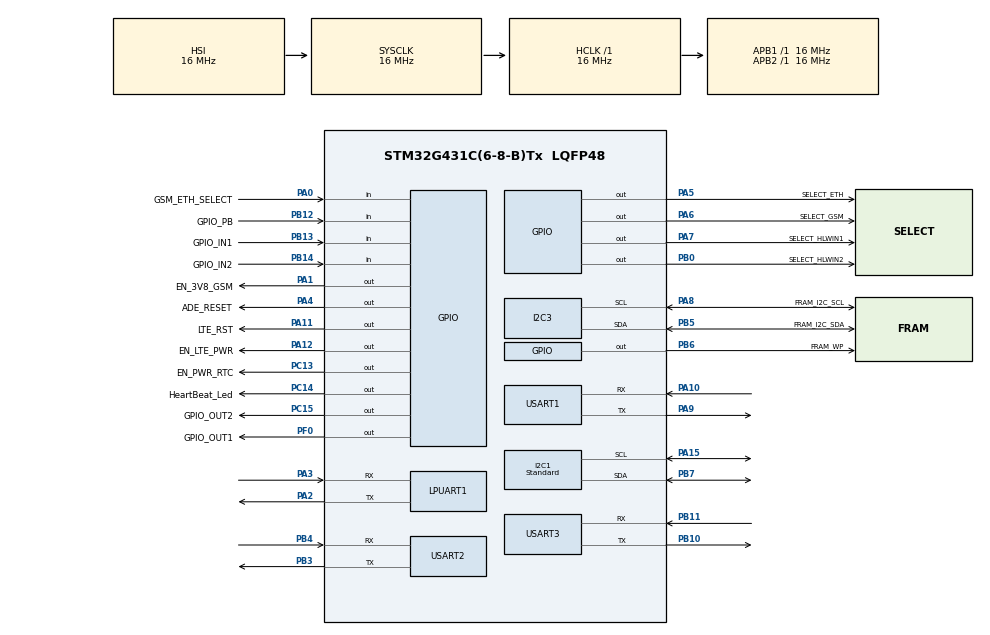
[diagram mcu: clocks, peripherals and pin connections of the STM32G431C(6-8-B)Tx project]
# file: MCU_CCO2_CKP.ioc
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I2C1.I2C_Speed_Mode=I2C_Standard
I2C1.NoStretchMode=I2C_NOSTRETCH_DISABLE
I2C1.Timing=0x00503D58
I2C3.Timing=0x00503D58
Mcu.Family=STM32G4
Mcu.Name=STM32G431C(6-8-B)Tx
Mcu.Package=LQFP48
NVIC.I2C3_EV_IRQn=true\:0\:0\:false\:false\:true\:true\:true\:true
NVIC.LPUART1_IRQn=true\:0\:0\:false\:false\:true\:true\:true\:true
NVIC.PriorityGroup=NVIC_PRIORITYGROUP_4
NVIC.TIM1_UP_TIM16_IRQn=true\:0\:0\:false\:false\:true\:true\:true\:true
NVIC.TIM2_IRQn=true\:0\:0\:false\:false\:true\:true\:true\:true
NVIC.USART1_IRQn=true\:0\:0\:false\:false\:true\:true\:true\:true
NVIC.USART2_IRQn=true\:0\:0\:false\:false\:true\:true\:true\:true
NVIC.USART3_IRQn=true\:0\:0\:false\:false\:true\:true\:true\:true
PA0.GPIO_Label=GSM_ETH_SELECT
PA0.Signal=GPIO_Input
PA1.GPIO_Label=EN_3V8_GSM
PA1.Signal=GPIO_Output
PA10.Mode=Asynchronous
PA10.Signal=USART1_RX
PA11.GPIO_Label=LTE_RST
PA11.Signal=GPIO_Output
PA12.GPIO_Label=EN_LTE_PWR
PA12.Signal=GPIO_Output
PA13.Mode=Serial_Wire
PA13.Signal=SYS_JTMS-SWDIO
PA14.Mode=Serial_Wire
PA14.Signal=SYS_JTCK-SWCLK
PA15.Mode=I2C
PA15.Signal=I2C1_SCL
PA2.Mode=Asynchronous
PA2.Signal=LPUART1_TX
PA3.Mode=Asynchronous
PA3.Signal=LPUART1_RX
PA4.GPIO_Label=ADE_RESET
PA4.Signal=GPIO_Output
PA5.GPIO_Label=SELECT_ETH
PA5.Signal=GPIO_Output
PA6.GPIO_Label=SELECT_GSM
PA6.Signal=GPIO_Output
PA7.GPIO_Label=SELECT_HLWIN1
PA7.Signal=GPIO_Output
PA8.GPIO_Label=FRAM_I2C_SCL
PA8.Mode=I2C
PA8.Signal=I2C3_SCL
PA9.Mode=Asynchronous
PA9.Signal=USART1_TX
PB0.GPIO_Label=SELECT_HLWIN2
PB0.Signal=GPIO_Output
PB10.Mode=Asynchronous
PB10.Signal=USART3_TX
PB11.Mode=Asynchronous
PB11.Signal=USART3_RX
PB12.GPIO_Label=GPIO_PB
PB12.Signal=GPIO_Input
PB13.GPIO_Label=GPIO_IN1
PB13.Signal=GPIO_Input
PB14.GPIO_Label=GPIO_IN2
PB14.Signal=GPIO_Input
PB3.Mode=Asynchronous
PB3.Signal=USART2_TX
PB4.Mode=Asynchronous
PB4.Signal=USART2_RX
PB5.GPIO_Label=FRAM_I2C_SDA
PB5.Mode=I2C
PB5.Signal=I2C3_SDA
PB6.GPIO_Label=FRAM_WP
PB6.Signal=GPIO_Output
PB7.Mode=I2C
PB7.Signal=I2C1_SDA
PC13.GPIO_Label=EN_PWR_RTC
PC13.Signal=GPIO_Output
PC14-OSC32_IN.GPIO_Label=HeartBeat_Led
PC14-OSC32_IN.Signal=GPIO_Output
PC15-OSC32_OUT.GPIO_Label=GPIO_OUT2
PC15-OSC32_OUT.Signal=GPIO_Output
PF0-OSC_IN.GPIO_Label=GPIO_OUT1
PF0-OSC_IN.Signal=GPIO_Output
ProjectManager.HeapSize=0x200
ProjectManager.StackSize=0x400
ProjectManager.TargetToolchain=STM32CubeIDE
RCC.AHBFreq_Value=16000000
RCC.APB1Freq_Value=16000000
RCC.APB1TimFreq_Value=16000000
RCC.APB2Freq_Value=16000000
RCC.APB2TimFreq_Value=16000000
RCC.CortexFreq_Value=16000000
RCC.EXTERNAL_CLOCK_VALUE=12288000
RCC.HCLKFreq_Value=16000000
RCC.HSE_VALUE=8000000
RCC.HSI48_VALUE=48000000
RCC.HSI_VALUE=16000000
RCC.LSE_VALUE=32768
RCC.SYSCLKFreq_VALUE=16000000
RCC.USBFreq_Value=64000000
RCC.VCOOutputFreq_Value=128000000
TIM1.Prescaler=16999
USART1.VirtualMode-Asynchronous=VM_ASYNC
USART2.VirtualMode-Asynchronous=VM_ASYNC
USART3.VirtualMode-Asynchronous=VM_ASYNC
VP_SYS_VS_DBSignals.Mode=DisableDeadBatterySignals
VP_TIM1_VS_ClockSourceINT.Mode=Internal
VP_TIM2_VS_ClockSourceINT.Mode=Internal
board=custom

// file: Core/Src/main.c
/* USER CODE BEGIN Header */
/**
  ******************************************************************************
  * @file           : main.c
  * @brief          : Main program body
  ******************************************************************************
  * @attention
  *
  * Copyright (c) 2026 STMicroelectronics.
  * All rights reserved.
  *
  * This software is licensed under terms that can be found in the LICENSE file
  * in the root directory of this software component.
  * If no LICENSE file comes with this software, it is provided AS-IS.
  *
  ******************************************************************************
  */
/* USER CODE END Header */
#include "main.h"

/* USER CODE BEGIN Includes */
#include "mqtt.h"
#include "uart.h"
#include "config.h"
#include "com_mcu1.h"
#include "ssd1306.h"
#include "HLW8110_Access.h"
#include "HLW8110_Calc.h"
#include <stdlib.h>
#include <stdio.h>
/* USER CODE END Includes */

/* USER CODE BEGIN PTD */
int retry_count=0;
// Variable untuk monitoring (bisa dilihat di Live Expression)
uint8_t mqtt_connected = 0;
uint8_t mqtt_subscribed = 0;
char last_mqtt_message[512] = {0};
uint32_t hlwReadTick = 0;
bool NL = false;    /* No Load flag per channel */
//char jml_node [10];
/* USER CODE END PTD */

I2C_HandleTypeDef hi2c1;
I2C_HandleTypeDef hi2c3;

UART_HandleTypeDef hlpuart1;
UART_HandleTypeDef huart1;
UART_HandleTypeDef huart2;
UART_HandleTypeDef huart3;

TIM_HandleTypeDef htim1;
TIM_HandleTypeDef htim2;

void SystemClock_Config(void);
static void MX_GPIO_Init(void);
static void MX_LPUART1_UART_Init(void);
static void MX_USART1_UART_Init(void);
static void MX_USART2_UART_Init(void);
static void MX_USART3_UART_Init(void);
static void MX_I2C3_Init(void);
static void MX_TIM1_Init(void);
static void MX_TIM2_Init(void);
static void MX_I2C1_Init(void);

int main(void)
{

  /* USER CODE BEGIN 1 */
	int total_retry = 0;
  /* USER CODE END 1 */

  /* MCU Configuration--------------------------------------------------------*/

  /* Reset of all peripherals, Initializes the Flash interface and the Systick. */
  HAL_Init();

  /* Configure the system clock */
  SystemClock_Config();

  /* Initialize all configured peripherals */
  MX_GPIO_Init();
  MX_LPUART1_UART_Init();
  MX_USART1_UART_Init();
  MX_USART2_UART_Init();
  MX_USART3_UART_Init();
  MX_I2C3_Init();
  MX_TIM1_Init();
  MX_TIM2_Init();
  MX_I2C1_Init();
  /* USER CODE BEGIN 2 */
  SSD1309_Init(&hi2c1);

  HAL_GPIO_WritePin(EN_3V8_GSM_GPIO_Port, EN_3V8_GSM_Pin, GPIO_PIN_SET); // ON GSM
  HAL_GPIO_WritePin(EN_LTE_PWR_GPIO_Port, EN_LTE_PWR_Pin, GPIO_PIN_SET);
  HAL_GPIO_WritePin(SELECT_GSM_GPIO_Port, SELECT_GSM_Pin, GPIO_PIN_RESET);
  HAL_GPIO_WritePin(SELECT_ETH_GPIO_Port, SELECT_ETH_Pin, GPIO_PIN_RESET);

  UART_Init_Buffer();
  MCU1_Request_Init();
  HLW_Activate_Freq_Measurement(&huart3);
  HAL_Delay(10);
  HAL_UART_Receive_IT(&huart3, (uint8_t*)&rxtxVar.dataRx, 1);

  HAL_Delay(3000);  // Tunggu modem siap

   // Test AT
  UART_ClearBuffer();
//  for (int i = 0; i < 3; i++) {
//      UART_ClearBuffer();
//      UART_SendATCommand("ATE0");
//      if (UART_WaitForOK(2000)) break;
//      HAL_Delay(500);
//  }
//  UART_SendATCommand("AT+QCFG=\"ledmode\",2");
  HAL_Delay(500);

//  HAL_Delay(100);        // Tambahkan delay

  SSD1309_Clear();       // Clear layar
  HAL_Delay(50);         // Delay lagi

  SSD1309_DrawBitmap(siklon_logo, 6);
  SSD1309_ShowStringCenter(7,"HANDAL-TERANGMUDAH");
  HAL_Delay(4000);

  SSD1309_Clear();
  SSD1309_ShowString(0,0,"Mulai MQTT");
  SSD1309_ShowString(80,0,":...");
  SSD1309_ShowString(0,1,"Koneksi MQTT");
  SSD1309_ShowString(80,1,":...");
  SSD1309_ShowString(0,2,"Daftar Topik");
  SSD1309_ShowString(80,2,":...");
  SSD1309_ShowStringCenter(6,"== PJU NEMA ==");
  SSD1309_ShowStringCenter(7,"== MEMUAT... ==");
  START:
  retry_count = 0;
  total_retry = 0;

  for (int i = 0; i < 3; i++) {
      UART_ClearBuffer();
      UART_SendATCommand("ATE0");
      if (UART_WaitForOK(2000)) break;
      HAL_Delay(500);
  }
  UART_SendATCommand("AT+QMTCFG=\"session\",0,1");
  UART_WaitForOK(3000);
  UART_SendATCommand("AT+QMTCFG=\"keepalive\",0,3600");
  UART_WaitForOK(3000);
  // ✅ FIX 4: Tutup koneksi lama sebelum open baru
  UART_SendATCommand("AT+QMTDISC=0");
  HAL_Delay(500);
  UART_SendATCommand("AT+QMTCLOSE=0");
  HAL_Delay(2000);
  while (MQTT_Open() != MQTT_OK)
  {
	  SSD1309_ClearArea(80, 0, 40);  // Clear area "FAIL" saja
	  SSD1309_ShowString(80,0,":GAGAL");
	  MQTT_CheckNetwork();

	  UART_SendATCommand("AT+QMTCLOSE=0");
      HAL_Delay(3000);  // delay sebelum retry
      retry_count++;
      total_retry++;
      if(total_retry >= 10) {
          HAL_GPIO_WritePin(EN_3V8_GSM_GPIO_Port, EN_3V8_GSM_Pin, GPIO_PIN_RESET);
          HAL_GPIO_WritePin(EN_LTE_PWR_GPIO_Port, EN_LTE_PWR_Pin, GPIO_PIN_RESET);
          HAL_Delay(3000);
          NVIC_SystemReset(); // reset kalau gagal terus
      }
      if(retry_count>=5){
    	  retry_count=0;
//    	  mqtt_check_internet_connection();
    	  goto START;
      }

  }
  HAL_Delay(100);
  SSD1309_ClearArea(80, 0, 40);  // Clear area "FAIL" saja
  SSD1309_ShowString(80,0,":SIAP");

  while (MQTT_Connect() != MQTT_OK)
  {
	  SSD1309_ClearArea(80, 1, 40);  // Clear area "FAIL" saja
	  SSD1309_ShowString(80,1,":GAGAL");
	  UART_SendATCommand("AT+QMTDISC=0");
	  retry_count++;
      HAL_Delay(500);  // delay sebelum retry
	  if (retry_count >=3){
		  retry_count=0;
		  goto START;
	  }
	  total_retry++;
      if(total_retry > 10) {
          NVIC_SystemReset(); // reset kalau gagal terus
      }
  }
  uint32_t node_request_timer = 0;

  SSD1309_ClearArea(80, 1, 40);  // Clear area "FAIL" saja
  SSD1309_ShowString(80,1,":SIAP");

  while (MQTT_Subscribe(mqtt_topic_sub, 0) != MQTT_OK)
  {
	  SSD1309_ClearArea(80, 2, 40);  // Clear area "FAIL" saja
	  SSD1309_ShowString(80,2,":GAGAL");

      HAL_Delay(2000);
      retry_count++;

      if (retry_count >= 5)
      {
          goto START;  // Continue anyway, subscribe might work later
      }
  }
  SSD1309_ClearArea(80, 2, 40);  // Clear area "FAIL" saja
  SSD1309_ShowString(80,2,":SIAP");
  node_request_timer = HAL_GetTick();
//  char Payload_pembuka[800];
//  snprintf(Payload_pembuka, sizeof(Payload_pembuka), "{\"H\":\"D\",\"STA\":\"FFFF00000005\",\"V\":222.05,\"I\":20.2,\"PWM\":12,\"R\":0}");
//  size_t lenY = strlen(Payload_pembuka);
//  uint16_t crcY = Modbus_CRC16((const unsigned char *)Payload_pembuka, lenY);
//  char Payload_pembuka_crc[1000];
//	  snprintf(Payload_pembuka_crc, sizeof(Payload_pembuka_crc),
//			  "{\"CRC\":\"%04X\",\"DATA\":%s}", crcY, Payload_pembuka);
//  MQTT_Publish(mqtt_topic_pub,Payload_pembuka_crc,1,0);
//  HAL_Delay(500);
//
  SSD1309_ClearArea(0, 7, 120);
  SSD1309_ShowStringCenter(7,"== TERHUBUNG ==");
  HAL_Delay(1000);
  SSD1309_Clear();
  SSD1309_ShowStringCenter(3,"== Mencari NODE ==");
//  MCU1_RequestNodeCount();
  MCU2_RequestMacCCO(mac_cco, sizeof(mac_cco));
  HAL_Delay(100);
  MCU2_RegisAllNodes();
  HAL_Delay(2000);
  SSD1309_Clear();
  SSD1309_ShowString(0,0,"Jumlah Node:");
//  jml_node = atoi(node_total_count);
  snprintf(jml_node, sizeof(jml_node), "%d", node_total_count);
  SSD1309_ShowString(80,0,jml_node);

  uint32_t polling_timer  = HAL_GetTick();
  hlwReadTick = HAL_GetTick();
//  MQTT_UART_Init();
  /* USER CODE END 2 */

  /* Infinite loop */
  /* USER CODE BEGIN WHILE */
  while (1)
  {
      if (HAL_GetTick() - polling_timer > POLLING_INTERVAL_MS)
      {
	      char json_X_payload[800];

          snprintf(json_X_payload, sizeof(json_X_payload), "{\"H\":\"K\",\"JS\":2,\"La\":0,\"Lo\":0,\"VR\":221.2,\"VS\":0,\"VT\":220.14,\"IR\":0.54,\"IS\":0,\"IT\":0.57,\"PFR\":0.9,\"PFS\":0,\"PFT\":0.9,\"WH\":3.5,\"W\":300.23,\"DI1\":0,\"DI2\":1,\"DO1\":0,\"DO2\":1}");
		  size_t lenX = strlen(json_X_payload);
		  uint16_t crcX = Modbus_CRC16((const unsigned char *)json_X_payload, lenX);
		  char json_X_with_crc[1000];
			  snprintf(json_X_with_crc, sizeof(json_X_with_crc),
					  "{\"CRC\":\"%04X\",\"DATA\":%s}", crcX, json_X_payload);
	      MQTT_Publish(mqtt_topic_pub,json_X_with_crc,1,0);
		  HAL_Delay(1000);
          polling_timer = HAL_GetTick();
      }
      if (HAL_GetTick() - hlwReadTick > 5000)
          {
              for (int i = 2; i >= 0; i--)
              {
                  /* Pilih channel via GPIO SELECT
                   * i=2 → SEL1=LOW,  SEL2=LOW   (netral)
                   * i=1 → SEL1=HIGH, SEL2=LOW   (fasa R)
                   * i=0 → SEL1=LOW,  SEL2=HIGH  (fasa S)  */
                  if (i == 1)
                  {
                      HAL_GPIO_WritePin(SELECT_HLWIN1_GPIO_Port, SELECT_HLWIN1_Pin, GPIO_PIN_SET);
                      HAL_GPIO_WritePin(SELECT_HLWIN2_GPIO_Port, SELECT_HLWIN2_Pin, GPIO_PIN_RESET);
                  }
                  else if (i == 0)
                  {
                      HAL_GPIO_WritePin(SELECT_HLWIN1_GPIO_Port, SELECT_HLWIN1_Pin, GPIO_PIN_RESET);
                      HAL_GPIO_WritePin(SELECT_HLWIN2_GPIO_Port, SELECT_HLWIN2_Pin, GPIO_PIN_SET);
                  }
                  else /* i == 2 */
                  {
                      HAL_GPIO_WritePin(SELECT_HLWIN1_GPIO_Port, SELECT_HLWIN1_Pin, GPIO_PIN_RESET);
                      HAL_GPIO_WritePin(SELECT_HLWIN2_GPIO_Port, SELECT_HLWIN2_Pin, GPIO_PIN_RESET);
                  }

                  /* --- EMU Status: cek no-load --- */
                  reqADDR = REG_EMUstatus;
                  HLW_Request(&huart3, reqADDR);
                  HAL_Delay(50);
                  NL = Is_NopldA_Active();

                  /* --- Tegangan: RmsU + RmsUC --- */
                  reqADDR = REG_RmsU;
                  HLW_Request(&huart3, reqADDR);
                  HAL_Delay(10);
                  reqADDR = REG_RmsUC;
                  HLW_Request(&huart3, reqADDR);
                  HAL_Delay(10);
                  param.RMSU[i] = Val_Vrms();

                  /* --- Arus: RmsIA + RmsIAC --- */
                  reqADDR = REG_RmsIA;
                  HLW_Request(&huart3, reqADDR);
                  HAL_Delay(10);
                  reqADDR = REG_RmsIAC;
                  HLW_Request(&huart3, reqADDR);
                  HAL_Delay(10);
                  param.RMSIA[i] = Val_Irms();

                  /* --- Frekuensi: RmsUC + Ufreq --- */
                  reqADDR = REG_RmsUC;
                  HLW_Request(&huart3, reqADDR);
                  HAL_Delay(10);
                  reqADDR = REG_Ufreq;
                  HLW_Request(&huart3, reqADDR);
                  HAL_Delay(10);
                  param.Frequency[i] = Val_Frequency();

                  /* --- Daya Aktif: PowerPA + PowerPAC --- */
                  reqADDR = REG_PowerPA;
                  HLW_Request(&huart3, reqADDR);
                  HAL_Delay(10);
                  reqADDR = REG_PowerPAC;
                  HLW_Request(&huart3, reqADDR);
                  HAL_Delay(10);
                  param.ActivePower[i] = Val_Power();

                  /* --- Daya Semu: PowerS + PowerSC --- */
                  reqADDR = REG_PowerS;
                  HLW_Request(&huart3, reqADDR);
                  HAL_Delay(10);
                  reqADDR = REG_PowerSC;
                  HLW_Request(&huart3, reqADDR);
                  HAL_Delay(10);
                  param.Apparent[i] = Val_Apparent();

                  /* --- Power Factor: PF --- */
                  reqADDR = REG_PF;
                  HLW_Request(&huart3, reqADDR);
                  HAL_Delay(10);
                  param.PowerFactor[i] = Val_PowerFactor(i);

                  HAL_Delay(10);
              }

              hlwReadTick = HAL_GetTick();
          }
      if (mqtt_data_ready)
        {
            Command_Handler();  // Otomatis ekstrak dan proses payload
        }
      if (mqtt_disconnected)
      {
//          SSD1306_Clear();
//          SSD1306_Print("Reconnecting...");

          if (MQTT_Reconnect() == MQTT_OK) {
//              SSD1306_Print("Reconnected!");
          } else {
              HAL_Delay(5000); // tunggu sebelum coba lagi
          }
      }
//      if (mqtt_data_ready){
//    	  char topic[128];
//		  char payload[512];
//		  UART_GetMqttMessage(topic, sizeof(topic), payload, sizeof(payload));
//		  if (strcmp(payload, "{\"H\":\"R\"}") == 0)
//		  {
//			  char json_Y_payload[800];
//			  snprintf(json_Y_payload, sizeof(json_Y_payload), "{\"H\":\"D\",\"STA\":\"FFFF00000005\",\"V\":222.05,\"I\":20.2,\"PWM\":12,\"R\":0}");
//			  size_t lenY = strlen(json_Y_payload);
//			  uint16_t crcY = Modbus_CRC16((const unsigned char *)json_Y_payload, lenY);
//			  char json_Y_with_crc[1000];
//				  snprintf(json_Y_with_crc, sizeof(json_Y_with_crc),
//						  "{\"CRC\":\"%04X\",\"DATA\":%s}", crcY, json_Y_payload);
//			  MQTT_Publish(mqtt_topic_pub,json_Y_with_crc,1,0);
//			  HAL_Delay(500);
//		   }
//      }
//      if (mqtt_data_ready)
//      {
//          // Copy ke variable untuk monitoring
//          strncpy(last_mqtt_message, mqttRxBuffer, sizeof(last_mqtt_message) - 1);
//
//
//          // Parse data MQTT (contoh format):
//          // +QMTRECV: 0,0,"smartsiklon/001000000001/downlink","Hello from broker"
//
//          // Bisa tambahkan parsing di sini sesuai kebutuhan
//
//          // Clear flag dan buffer setelah diproses
//          //UART_ClearMqttBuffer();
//      }
      HAL_Delay(100);  // Delay polling
    /* USER CODE END WHILE */

  }
}

void SystemClock_Config(void)
{
  RCC_OscInitTypeDef RCC_OscInitStruct = {0};
  RCC_ClkInitTypeDef RCC_ClkInitStruct = {0};

  /** Configure the main internal regulator output voltage
  */
  HAL_PWREx_ControlVoltageScaling(PWR_REGULATOR_VOLTAGE_SCALE1);

  /** Initializes the RCC Oscillators according to the specified parameters
  * in the RCC_OscInitTypeDef structure.
  */
  RCC_OscInitStruct.OscillatorType = RCC_OSCILLATORTYPE_HSI;
  RCC_OscInitStruct.HSIState = RCC_HSI_ON;
  RCC_OscInitStruct.HSICalibrationValue = RCC_HSICALIBRATION_DEFAULT;
  RCC_OscInitStruct.PLL.PLLState = RCC_PLL_NONE;
  if (HAL_RCC_OscConfig(&RCC_OscInitStruct) != HAL_OK)
  {
    Error_Handler();
  }

  /** Initializes the CPU, AHB and APB buses clocks
  */
  RCC_ClkInitStruct.ClockType = RCC_CLOCKTYPE_HCLK|RCC_CLOCKTYPE_SYSCLK
                              |RCC_CLOCKTYPE_PCLK1|RCC_CLOCKTYPE_PCLK2;
  RCC_ClkInitStruct.SYSCLKSource = RCC_SYSCLKSOURCE_HSI;
  RCC_ClkInitStruct.AHBCLKDivider = RCC_SYSCLK_DIV1;
  RCC_ClkInitStruct.APB1CLKDivider = RCC_HCLK_DIV1;
  RCC_ClkInitStruct.APB2CLKDivider = RCC_HCLK_DIV1;

  if (HAL_RCC_ClockConfig(&RCC_ClkInitStruct, FLASH_LATENCY_0) != HAL_OK)
  {
    Error_Handler();
  }
}

static void MX_I2C1_Init(void)
{

  hi2c1.Instance = I2C1;
  hi2c1.Init.Timing = 0x00503D58;
  hi2c1.Init.OwnAddress1 = 0;
  hi2c1.Init.AddressingMode = I2C_ADDRESSINGMODE_7BIT;
  hi2c1.Init.DualAddressMode = I2C_DUALADDRESS_DISABLE;
  hi2c1.Init.OwnAddress2 = 0;
  hi2c1.Init.OwnAddress2Masks = I2C_OA2_NOMASK;
  hi2c1.Init.GeneralCallMode = I2C_GENERALCALL_DISABLE;
  hi2c1.Init.NoStretchMode = I2C_NOSTRETCH_DISABLE;
  if (HAL_I2C_Init(&hi2c1) != HAL_OK)
  {
    Error_Handler();
  }

  /** Configure Analogue filter
  */
  if (HAL_I2CEx_ConfigAnalogFilter(&hi2c1, I2C_ANALOGFILTER_ENABLE) != HAL_OK)
  {
    Error_Handler();
  }

  /** Configure Digital filter
  */
  if (HAL_I2CEx_ConfigDigitalFilter(&hi2c1, 0) != HAL_OK)
  {
    Error_Handler();
  }

}

static void MX_I2C3_Init(void)
{

  hi2c3.Instance = I2C3;
  hi2c3.Init.Timing = 0x00503D58;
  hi2c3.Init.OwnAddress1 = 0;
  hi2c3.Init.AddressingMode = I2C_ADDRESSINGMODE_7BIT;
  hi2c3.Init.DualAddressMode = I2C_DUALADDRESS_DISABLE;
  hi2c3.Init.OwnAddress2 = 0;
  hi2c3.Init.OwnAddress2Masks = I2C_OA2_NOMASK;
  hi2c3.Init.GeneralCallMode = I2C_GENERALCALL_DISABLE;
  hi2c3.Init.NoStretchMode = I2C_NOSTRETCH_DISABLE;
  if (HAL_I2C_Init(&hi2c3) != HAL_OK)
  {
    Error_Handler();
  }

  /** Configure Analogue filter
  */
  if (HAL_I2CEx_ConfigAnalogFilter(&hi2c3, I2C_ANALOGFILTER_ENABLE) != HAL_OK)
  {
    Error_Handler();
  }

  /** Configure Digital filter
  */
  if (HAL_I2CEx_ConfigDigitalFilter(&hi2c3, 0) != HAL_OK)
  {
    Error_Handler();
  }

}

static void MX_LPUART1_UART_Init(void)
{

  hlpuart1.Instance = LPUART1;
  hlpuart1.Init.BaudRate = 209700;
  hlpuart1.Init.WordLength = UART_WORDLENGTH_8B;
  hlpuart1.Init.StopBits = UART_STOPBITS_1;
  hlpuart1.Init.Parity = UART_PARITY_NONE;
  hlpuart1.Init.Mode = UART_MODE_TX_RX;
  hlpuart1.Init.HwFlowCtl = UART_HWCONTROL_NONE;
  hlpuart1.Init.OneBitSampling = UART_ONE_BIT_SAMPLE_DISABLE;
  hlpuart1.Init.ClockPrescaler = UART_PRESCALER_DIV1;
  hlpuart1.AdvancedInit.AdvFeatureInit = UART_ADVFEATURE_NO_INIT;
  if (HAL_UART_Init(&hlpuart1) != HAL_OK)
  {
    Error_Handler();
  }
  if (HAL_UARTEx_SetTxFifoThreshold(&hlpuart1, UART_TXFIFO_THRESHOLD_1_8) != HAL_OK)
  {
    Error_Handler();
  }
  if (HAL_UARTEx_SetRxFifoThreshold(&hlpuart1, UART_RXFIFO_THRESHOLD_1_8) != HAL_OK)
  {
    Error_Handler();
  }
  if (HAL_UARTEx_DisableFifoMode(&hlpuart1) != HAL_OK)
  {
    Error_Handler();
  }

}

static void MX_USART1_UART_Init(void)
{

  huart1.Instance = USART1;
  huart1.Init.BaudRate = 115200;
  huart1.Init.WordLength = UART_WORDLENGTH_8B;
  huart1.Init.StopBits = UART_STOPBITS_1;
  huart1.Init.Parity = UART_PARITY_NONE;
  huart1.Init.Mode = UART_MODE_TX_RX;
  huart1.Init.HwFlowCtl = UART_HWCONTROL_NONE;
  huart1.Init.OverSampling = UART_OVERSAMPLING_16;
  huart1.Init.OneBitSampling = UART_ONE_BIT_SAMPLE_DISABLE;
  huart1.Init.ClockPrescaler = UART_PRESCALER_DIV1;
  huart1.AdvancedInit.AdvFeatureInit = UART_ADVFEATURE_NO_INIT;
  if (HAL_UART_Init(&huart1) != HAL_OK)
  {
    Error_Handler();
  }
  if (HAL_UARTEx_SetTxFifoThreshold(&huart1, UART_TXFIFO_THRESHOLD_1_8) != HAL_OK)
  {
    Error_Handler();
  }
  if (HAL_UARTEx_SetRxFifoThreshold(&huart1, UART_RXFIFO_THRESHOLD_1_8) != HAL_OK)
  {
    Error_Handler();
  }
  if (HAL_UARTEx_DisableFifoMode(&huart1) != HAL_OK)
  {
    Error_Handler();
  }

}

static void MX_USART2_UART_Init(void)
{

  huart2.Instance = USART2;
  huart2.Init.BaudRate = 115200;
  huart2.Init.WordLength = UART_WORDLENGTH_8B;
  huart2.Init.StopBits = UART_STOPBITS_1;
  huart2.Init.Parity = UART_PARITY_NONE;
  huart2.Init.Mode = UART_MODE_TX_RX;
  huart2.Init.HwFlowCtl = UART_HWCONTROL_NONE;
  huart2.Init.OverSampling = UART_OVERSAMPLING_16;
  huart2.Init.OneBitSampling = UART_ONE_BIT_SAMPLE_DISABLE;
  huart2.Init.ClockPrescaler = UART_PRESCALER_DIV1;
  huart2.AdvancedInit.AdvFeatureInit = UART_ADVFEATURE_NO_INIT;
  if (HAL_UART_Init(&huart2) != HAL_OK)
  {
    Error_Handler();
  }
  if (HAL_UARTEx_SetTxFifoThreshold(&huart2, UART_TXFIFO_THRESHOLD_1_8) != HAL_OK)
  {
    Error_Handler();
  }
  if (HAL_UARTEx_SetRxFifoThreshold(&huart2, UART_RXFIFO_THRESHOLD_1_8) != HAL_OK)
  {
    Error_Handler();
  }
  if (HAL_UARTEx_DisableFifoMode(&huart2) != HAL_OK)
  {
    Error_Handler();
  }

}

static void MX_USART3_UART_Init(void)
{

  huart3.Instance = USART3;
  huart3.Init.BaudRate = 9600;
  huart3.Init.WordLength = UART_WORDLENGTH_9B;
  huart3.Init.StopBits = UART_STOPBITS_1;
  huart3.Init.Parity = UART_PARITY_EVEN;
  huart3.Init.Mode = UART_MODE_TX_RX;
  huart3.Init.HwFlowCtl = UART_HWCONTROL_NONE;
  huart3.Init.OverSampling = UART_OVERSAMPLING_16;
  huart3.Init.OneBitSampling = UART_ONE_BIT_SAMPLE_DISABLE;
  huart3.Init.ClockPrescaler = UART_PRESCALER_DIV1;
  huart3.AdvancedInit.AdvFeatureInit = UART_ADVFEATURE_NO_INIT;
  if (HAL_UART_Init(&huart3) != HAL_OK)
  {
    Error_Handler();
  }
  if (HAL_UARTEx_SetTxFifoThreshold(&huart3, UART_TXFIFO_THRESHOLD_1_8) != HAL_OK)
  {
    Error_Handler();
  }
  if (HAL_UARTEx_SetRxFifoThreshold(&huart3, UART_RXFIFO_THRESHOLD_1_8) != HAL_OK)
  {
    Error_Handler();
  }
  if (HAL_UARTEx_DisableFifoMode(&huart3) != HAL_OK)
  {
    Error_Handler();
  }

}

static void MX_TIM1_Init(void)
{

  TIM_ClockConfigTypeDef sClockSourceConfig = {0};
  TIM_MasterConfigTypeDef sMasterConfig = {0};

  htim1.Instance = TIM1;
  htim1.Init.Prescaler = 16999;
  htim1.Init.CounterMode = TIM_COUNTERMODE_UP;
  htim1.Init.Period = 65535;
  htim1.Init.ClockDivision = TIM_CLOCKDIVISION_DIV1;
  htim1.Init.RepetitionCounter = 0;
  htim1.Init.AutoReloadPreload = TIM_AUTORELOAD_PRELOAD_DISABLE;
  if (HAL_TIM_Base_Init(&htim1) != HAL_OK)
  {
    Error_Handler();
  }
  sClockSourceConfig.ClockSource = TIM_CLOCKSOURCE_INTERNAL;
  if (HAL_TIM_ConfigClockSource(&htim1, &sClockSourceConfig) != HAL_OK)
  {
    Error_Handler();
  }
  sMasterConfig.MasterOutputTrigger = TIM_TRGO_RESET;
  sMasterConfig.MasterOutputTrigger2 = TIM_TRGO2_RESET;
  sMasterConfig.MasterSlaveMode = TIM_MASTERSLAVEMODE_DISABLE;
  if (HAL_TIMEx_MasterConfigSynchronization(&htim1, &sMasterConfig) != HAL_OK)
  {
    Error_Handler();
  }

}

static void MX_TIM2_Init(void)
{

  TIM_ClockConfigTypeDef sClockSourceConfig = {0};
  TIM_MasterConfigTypeDef sMasterConfig = {0};

  htim2.Instance = TIM2;
  htim2.Init.Prescaler = 0;
  htim2.Init.CounterMode = TIM_COUNTERMODE_UP;
  htim2.Init.Period = 4294967295;
  htim2.Init.ClockDivision = TIM_CLOCKDIVISION_DIV1;
  htim2.Init.AutoReloadPreload = TIM_AUTORELOAD_PRELOAD_DISABLE;
  if (HAL_TIM_Base_Init(&htim2) != HAL_OK)
  {
    Error_Handler();
  }
  sClockSourceConfig.ClockSource = TIM_CLOCKSOURCE_INTERNAL;
  if (HAL_TIM_ConfigClockSource(&htim2, &sClockSourceConfig) != HAL_OK)
  {
    Error_Handler();
  }
  sMasterConfig.MasterOutputTrigger = TIM_TRGO_RESET;
  sMasterConfig.MasterSlaveMode = TIM_MASTERSLAVEMODE_DISABLE;
  if (HAL_TIMEx_MasterConfigSynchronization(&htim2, &sMasterConfig) != HAL_OK)
  {
    Error_Handler();
  }

}

static void MX_GPIO_Init(void)
{
  GPIO_InitTypeDef GPIO_InitStruct = {0};

  /* GPIO Ports Clock Enable */
  __HAL_RCC_GPIOC_CLK_ENABLE();
  __HAL_RCC_GPIOF_CLK_ENABLE();
  __HAL_RCC_GPIOA_CLK_ENABLE();
  __HAL_RCC_GPIOB_CLK_ENABLE();

  /*Configure GPIO pin Output Level */
  HAL_GPIO_WritePin(GPIOC, EN_PWR_RTC_Pin|HeartBeat_Led_Pin|GPIO_OUT2_Pin, GPIO_PIN_RESET);

  /*Configure GPIO pin Output Level */
  HAL_GPIO_WritePin(GPIO_OUT1_GPIO_Port, GPIO_OUT1_Pin, GPIO_PIN_RESET);

  /*Configure GPIO pin Output Level */
  HAL_GPIO_WritePin(GPIOA, EN_3V8_GSM_Pin|ADE_RESET_Pin|SELECT_ETH_Pin|SELECT_GSM_Pin
                          |SELECT_HLWIN1_Pin|LTE_RST_Pin|EN_LTE_PWR_Pin, GPIO_PIN_RESET);

  /*Configure GPIO pin Output Level */
  HAL_GPIO_WritePin(GPIOB, SELECT_HLWIN2_Pin|FRAM_WP_Pin, GPIO_PIN_RESET);

  /*Configure GPIO pins : EN_PWR_RTC_Pin HeartBeat_Led_Pin GPIO_OUT2_Pin */
  GPIO_InitStruct.Pin = EN_PWR_RTC_Pin|HeartBeat_Led_Pin|GPIO_OUT2_Pin;
  GPIO_InitStruct.Mode = GPIO_MODE_OUTPUT_PP;
  GPIO_InitStruct.Pull = GPIO_NOPULL;
  GPIO_InitStruct.Speed = GPIO_SPEED_FREQ_LOW;
  HAL_GPIO_Init(GPIOC, &GPIO_InitStruct);

  /*Configure GPIO pin : GPIO_OUT1_Pin */
  GPIO_InitStruct.Pin = GPIO_OUT1_Pin;
  GPIO_InitStruct.Mode = GPIO_MODE_OUTPUT_PP;
  GPIO_InitStruct.Pull = GPIO_NOPULL;
  GPIO_InitStruct.Speed = GPIO_SPEED_FREQ_LOW;
  HAL_GPIO_Init(GPIO_OUT1_GPIO_Port, &GPIO_InitStruct);

  /*Configure GPIO pin : GSM_ETH_SELECT_Pin */
  GPIO_InitStruct.Pin = GSM_ETH_SELECT_Pin;
  GPIO_InitStruct.Mode = GPIO_MODE_INPUT;
  GPIO_InitStruct.Pull = GPIO_NOPULL;
  HAL_GPIO_Init(GSM_ETH_SELECT_GPIO_Port, &GPIO_InitStruct);

  /*Configure GPIO pins : EN_3V8_GSM_Pin ADE_RESET_Pin SELECT_ETH_Pin SELECT_GSM_Pin
                           SELECT_HLWIN1_Pin LTE_RST_Pin EN_LTE_PWR_Pin */
  GPIO_InitStruct.Pin = EN_3V8_GSM_Pin|ADE_RESET_Pin|SELECT_ETH_Pin|SELECT_GSM_Pin
                          |SELECT_HLWIN1_Pin|LTE_RST_Pin|EN_LTE_PWR_Pin;
  GPIO_InitStruct.Mode = GPIO_MODE_OUTPUT_PP;
  GPIO_InitStruct.Pull = GPIO_NOPULL;
  GPIO_InitStruct.Speed = GPIO_SPEED_FREQ_LOW;
  HAL_GPIO_Init(GPIOA, &GPIO_InitStruct);

  /*Configure GPIO pins : SELECT_HLWIN2_Pin FRAM_WP_Pin */
  GPIO_InitStruct.Pin = SELECT_HLWIN2_Pin|FRAM_WP_Pin;
  GPIO_InitStruct.Mode = GPIO_MODE_OUTPUT_PP;
  GPIO_InitStruct.Pull = GPIO_NOPULL;
  GPIO_InitStruct.Speed = GPIO_SPEED_FREQ_LOW;
  HAL_GPIO_Init(GPIOB, &GPIO_InitStruct);

  /*Configure GPIO pins : GPIO_PB_Pin GPIO_IN1_Pin GPIO_IN2_Pin */
  GPIO_InitStruct.Pin = GPIO_PB_Pin|GPIO_IN1_Pin|GPIO_IN2_Pin;
  GPIO_InitStruct.Mode = GPIO_MODE_INPUT;
  GPIO_InitStruct.Pull = GPIO_NOPULL;
  HAL_GPIO_Init(GPIOB, &GPIO_InitStruct);

}

void Error_Handler(void)
{
  __disable_irq();
  while (1)
  {
  }
}
